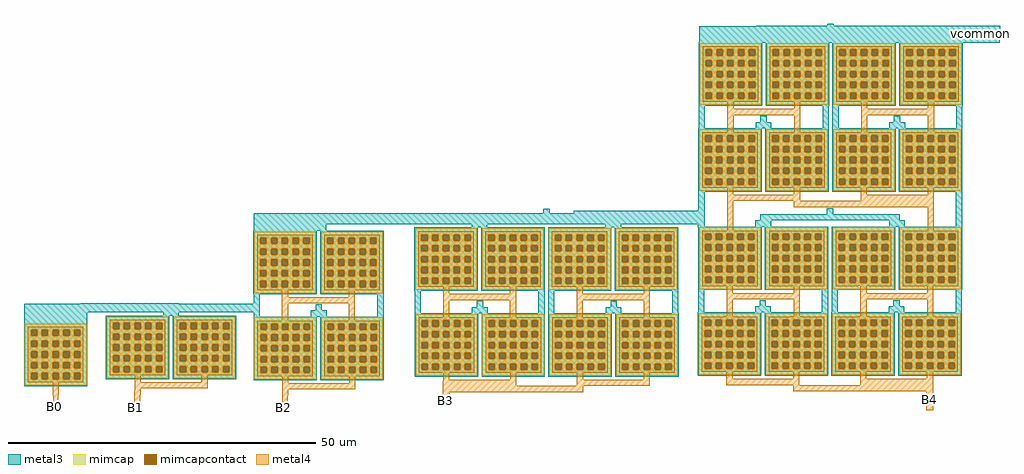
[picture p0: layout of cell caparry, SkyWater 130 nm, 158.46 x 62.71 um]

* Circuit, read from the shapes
.subckt caparry B0 B1 B2 B3 B4 vcommon
XC1 B0 vcommon sky130_fd_pr__cap_mim_m3_1 w=10 l=10
XC2 B1 vcommon sky130_fd_pr__cap_mim_m3_1 w=10 l=10 m=2
XC3 B2 vcommon sky130_fd_pr__cap_mim_m3_1 w=10 l=10 m=4
XC4 B3 vcommon sky130_fd_pr__cap_mim_m3_1 w=10 l=10 m=8
XC5 B4 vcommon sky130_fd_pr__cap_mim_m3_1 w=10 l=10 m=16
.ends

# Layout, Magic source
magic
tech sky130A
<< metal3 >>
rect 1485 6163 5441 6164
rect 556 5985 5441 6163
rect 556 5896 5436 5985
rect 1409 5893 5436 5896
rect 536 3161 643 3177
rect -6674 3123 -5651 3126
rect -1482 3123 643 3161
rect -6674 2947 643 3123
rect -6674 2933 -5498 2947
rect -1482 2946 643 2947
rect -6674 2839 -5651 2933
rect 536 2897 643 2946
rect -9482 1657 -7891 1660
rect -9482 1652 -6574 1657
rect -10398 1514 -6574 1652
rect -10398 1343 -9378 1514
rect -8091 1512 -6574 1514
<< metal4 >>
rect -9934 -61 -9845 275
rect -8616 -67 -8521 235
rect -6214 -51 -6119 251
rect -3606 50 -3489 395
rect 4242 -73 4359 272
use mimcap16C  mimcap16C_0
transform -1 0 4835 0 1 3123
box 0 -2990 4300 3075
use mimcap8C  mimcap8C_0
transform 1 0 -4067 0 1 219
box 0 -100 4290 2975
use mimcap4C  mimcap4C_0
transform 1 0 -6683 0 1 1561
box 0 -1395 2120 1480
use mimcap2C  mimcap2C_0
transform 1 0 -9074 0 1 279
box 0 -100 2115 1380
use mimcap1C  mimcap1C_0
transform 1 0 -10185 0 1 542
box -220 -375 810 905
<< labels >>
rlabel metal3 5124 6041 5124 6041 1 vcommon
rlabel metal4 -9913 -8 -9913 -8 1 B0
rlabel metal4 4242 -73 4359 272 1 B4
rlabel metal4 -3560 84 -3560 84 1 B3
rlabel metal4 -6184 -30 -6184 -30 1 B2
rlabel metal4 -8594 -33 -8594 -33 1 B1
rlabel metal4 -9903 -42 -9903 -42 1 B0
<< end >>

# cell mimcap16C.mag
magic
tech sky130A
<< metal3 >>
rect 2145 3065 2155 3075
rect 10 -215 110 350
rect 4190 -215 4290 350
<< metal4 >>
rect 470 -280 570 0
rect 3725 -280 3825 200
rect 525 -2990 535 -2980
use mimcap8C  mimcap8C_1
transform 1 0 10 0 1 -2890
box 0 -100 4290 2975
use mimcap8C  mimcap8C_0
transform 1 0 0 0 1 100
box 0 -100 4290 2975
<< labels >>
rlabel metal3 2150 3075 2150 3075 1 common
rlabel metal4 530 -2990 530 -2990 5 top16C
<< end >>

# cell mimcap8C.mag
magic
tech sky130A
<< metal3 >>
rect 2095 2875 2195 2975
rect 1010 2775 3280 2875
<< metal4 >>
rect 470 0 2740 100
rect 470 -100 570 0
use mimcap4C  mimcap4C_1
transform 1 0 2170 0 1 1395
box 0 -1395 2120 1480
use mimcap4C  mimcap4C_0
transform 1 0 0 0 1 1395
box 0 -1395 2120 1480
<< labels >>
rlabel metal3 2150 2975 2150 2975 1 common
rlabel metal4 520 -100 520 -100 5 top8C
<< end >>

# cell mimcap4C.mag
magic
tech sky130A
<< metal3 >>
rect 1060 1470 1070 1480
rect 5 -115 105 250
rect 2015 -115 2115 250
<< metal4 >>
rect 465 -180 565 0
rect 1550 -180 1650 100
rect 515 -1395 525 -1385
use mimcap2C  mimcap2C_1
transform 1 0 5 0 1 -1295
box 0 -100 2115 1380
use mimcap2C  mimcap2C_0
transform 1 0 0 0 1 100
box 0 -100 2115 1380
<< labels >>
rlabel metal3 1065 1480 1065 1480 1 common
rlabel metal4 520 -1395 520 -1395 5 top4C
<< end >>

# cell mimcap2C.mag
magic
tech sky130A
<< metal3 >>
rect 1010 1280 1110 1380
rect 930 1180 1185 1280
<< metal4 >>
rect 465 0 1650 100
rect 465 -100 565 0
use mimcap1C  mimcap1C_1
transform -1 0 1895 0 1 375
box -220 -375 810 905
use mimcap1C  mimcap1C_0
transform 1 0 220 0 1 375
box -220 -375 810 905
<< labels >>
rlabel metal4 515 -100 515 -100 5 top2C
rlabel metal3 1065 1380 1065 1380 1 common
<< end >>

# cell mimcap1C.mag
magic
tech sky130A
<< metal3 >>
rect 710 805 810 905
rect -220 -225 810 805
<< mimcap >>
rect -205 689 795 790
rect -205 589 -106 689
rect -6 589 69 689
rect 169 589 244 689
rect 344 589 419 689
rect 519 589 594 689
rect 694 589 795 689
rect -205 514 795 589
rect -205 414 -106 514
rect -6 414 69 514
rect 169 414 244 514
rect 344 414 419 514
rect 519 414 594 514
rect 694 414 795 514
rect -205 339 795 414
rect -205 239 -106 339
rect -6 239 69 339
rect 169 239 244 339
rect 344 239 419 339
rect 519 239 594 339
rect 694 239 795 339
rect -205 164 795 239
rect -205 64 -106 164
rect -6 64 69 164
rect 169 64 244 164
rect 344 64 419 164
rect 519 64 594 164
rect 694 64 795 164
rect -205 -11 795 64
rect -205 -111 -106 -11
rect -6 -111 69 -11
rect 169 -111 244 -11
rect 344 -111 419 -11
rect 519 -111 594 -11
rect 694 -111 795 -11
rect -205 -210 795 -111
<< mimcapcontact >>
rect -106 589 -6 689
rect 69 589 169 689
rect 244 589 344 689
rect 419 589 519 689
rect 594 589 694 689
rect -106 414 -6 514
rect 69 414 169 514
rect 244 414 344 514
rect 419 414 519 514
rect 594 414 694 514
rect -106 239 -6 339
rect 69 239 169 339
rect 244 239 344 339
rect 419 239 519 339
rect 594 239 694 339
rect -106 64 -6 164
rect 69 64 169 164
rect 244 64 344 164
rect 419 64 519 164
rect 594 64 694 164
rect -106 -111 -6 -11
rect 69 -111 169 -11
rect 244 -111 344 -11
rect 419 -111 519 -11
rect 594 -111 694 -11
<< metal4 >>
rect 207 739 383 740
rect -156 689 744 739
rect -156 589 -106 689
rect -6 589 69 689
rect 169 589 244 689
rect 344 589 419 689
rect 519 589 594 689
rect 694 589 744 689
rect -156 514 744 589
rect -156 414 -106 514
rect -6 414 69 514
rect 169 414 244 514
rect 344 414 419 514
rect 519 414 594 514
rect 694 414 744 514
rect -156 339 744 414
rect -156 239 -106 339
rect -6 239 69 339
rect 169 239 244 339
rect 344 239 419 339
rect 519 239 594 339
rect 694 239 744 339
rect -156 164 744 239
rect -156 64 -106 164
rect -6 64 69 164
rect 169 64 244 164
rect 344 64 419 164
rect 519 64 594 164
rect 694 64 744 164
rect -156 -11 744 64
rect -156 -111 -106 -11
rect -6 -111 69 -11
rect 169 -111 244 -11
rect 344 -111 419 -11
rect 519 -111 594 -11
rect 694 -111 744 -11
rect -156 -160 744 -111
rect -156 -161 205 -160
rect 245 -375 345 -160
rect 385 -161 744 -160
<< labels >>
rlabel metal4 295 -375 295 -375 5 top1C
rlabel metal3 765 905 765 905 1 common
<< end >>
